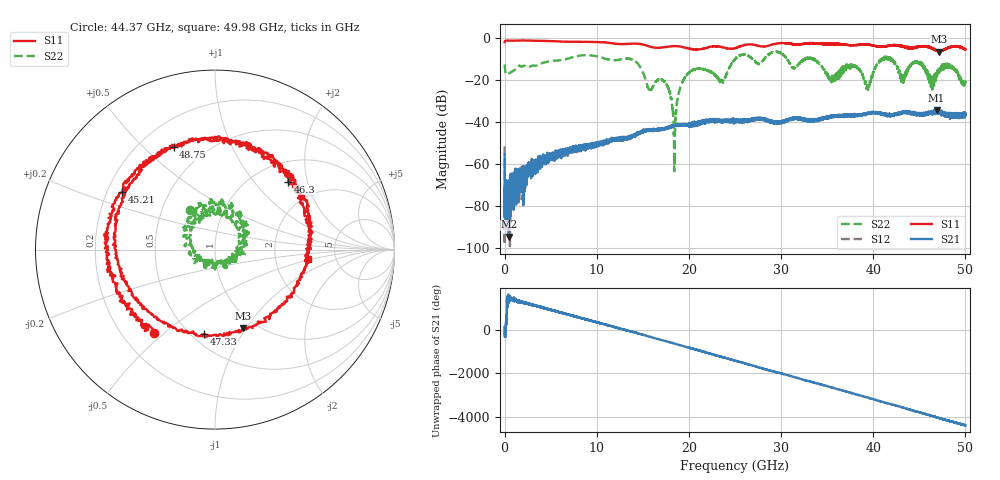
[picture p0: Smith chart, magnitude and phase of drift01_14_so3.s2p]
!Created with skrf (http://scikit-rf.org).
# Hz S RI R 50.0
!freq ReS11 ImS11 ReS21 ImS21 ReS12 ImS12 ReS22 ImS22
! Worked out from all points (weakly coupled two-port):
!   10001 points, 300 kHz to 50 GHz, reference 50 ohm
!   highest |S21| = -34.58 dB at 46.87 GHz (marker M1); lowest = -94.7 dB at 450.3 MHz (marker M2)
!   lowest |S11| = -6.7 dB at 47.15 GHz (marker M3), VSWR 2.73, Z = 43.5 - j48.4 ohm
!   |S11| at or under -10 dB: nowhere
!   |S22| runs from -63.5 to -6.6 dB; largest |S21 - S12| = 0.004
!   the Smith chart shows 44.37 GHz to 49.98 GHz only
!   S11 on the Smith chart (normalised r, x): 44.37 GHz: 0.33, -0.46; 45.21 GHz: 0.26, +0.27; 46.3 GHz: 1.40, +1.53; 47.33 GHz: 0.57, -0.70; 48.75 GHz: 0.34, +0.62; 49.98 GHz: 3.09, -0.43
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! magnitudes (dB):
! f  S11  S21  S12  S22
! 300 kHz  -2.1  -55.5  -51.7  -12.8
! 450.3 MHz  -1.5  -94.7  -74.1  -17.1
! 8.335 GHz  -1.9  -52.5  -52.8  -8.5
! 16.67 GHz  -4.8  -43.6  -43.9  -19.9
! 17.74 GHz  -4.3  -43.0  -42.5  -23.7
! 18.43 GHz  -4.1  -42.0  -41.7  -59.7
! 19.91 GHz  -5.1  -41.5  -41.3  -17.2
! 23.59 GHz  -4.5  -39.8  -40.0  -20.5
! 25 GHz  -5.0  -39.9  -39.4  -10.3
! 33.34 GHz  -2.6  -39.4  -39.3  -10.0
! 39.37 GHz  -3.4  -35.8  -36.1  -23.5
! 41.67 GHz  -3.9  -36.7  -36.9  -9.8
! 43.18 GHz  -4.3  -35.3  -35.5  -18.4
! 44.37 GHz  -4.8  -35.8  -36.3  -11.7
! 45.21 GHz  -4.3  -36.8  -36.4  -12.6
! 46.3 GHz  -5.1  -35.8  -35.5  -21.5
! 46.87 GHz  -6.1  -34.6  -35.3  -17.0
! 47.15 GHz  -6.7  -35.2  -35.7  -15.2
! 47.33 GHz  -6.5  -35.6  -36.0  -13.9
! 48.75 GHz  -4.2  -36.9  -36.5  -15.0
! 49.98 GHz  -5.7  -36.7  -36.6  -21.5
! 50 GHz  -5.5  -36.8  -37.0  -21.7
